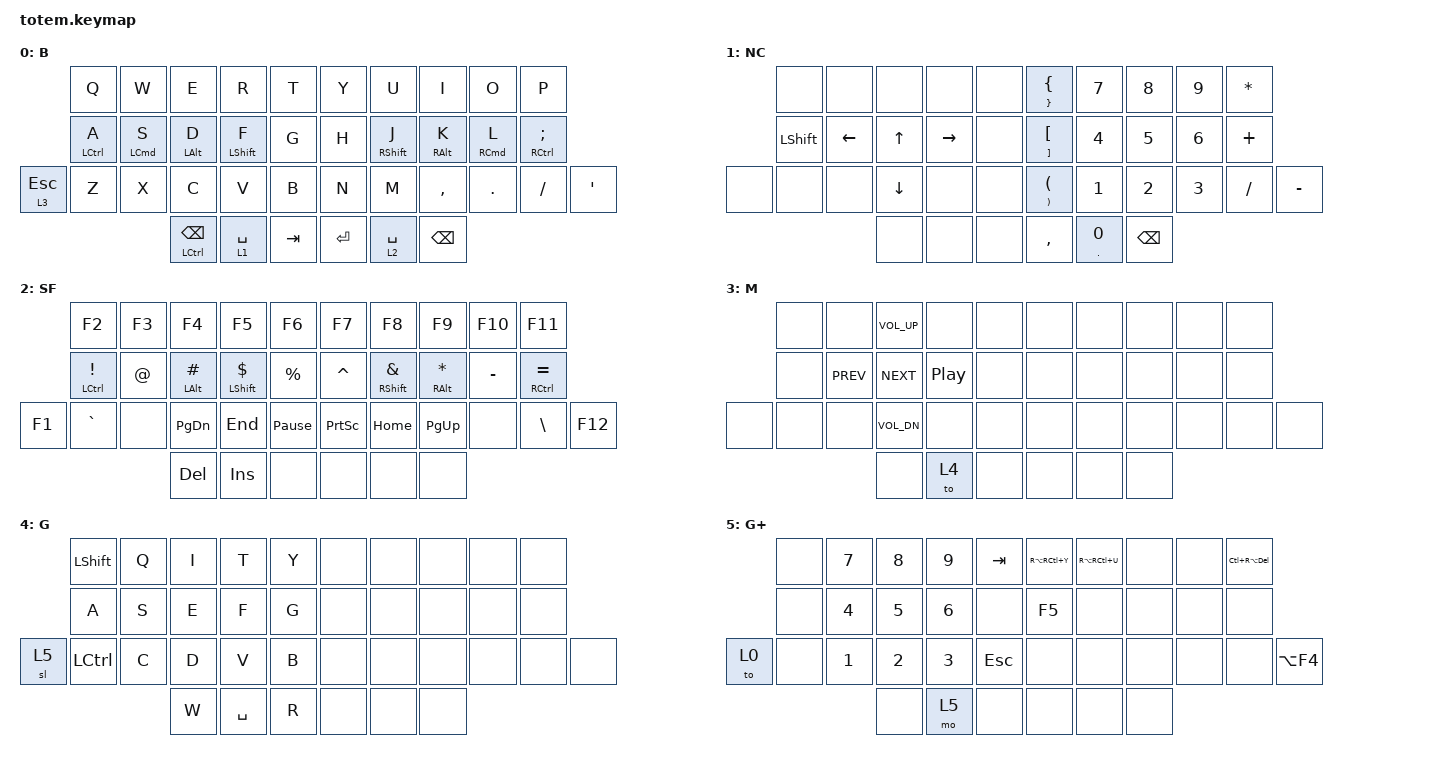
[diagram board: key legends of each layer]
//
//                                                        ▀▀▀▀▀     ▀▀▀▀▀          ▀▀█▀▀
//                                                        ▄▀▀▀▄  ▄  ▄▀▀▀▄  ▄  ▄▀▀▀▄  █  ▄▀▀▀▄
//                                                        █   █  █  █   █  █  █   █  █  █   █
//                                                         ▀▀▀   █   ▀▀▀   █   ▀▀▀   ▀   ▀▀▀
//                                                               █      ▄▄▄█▄▄▄    █   █  
//                                                               ▀      █  █  █     █▄█
//                                                             ▀▀▀▀▀    █  █  █      ▀
//                                                                      ▀  ▀  ▀
//
// ▄▄▄▄▄▄▄▄▄▄▄▄▄▄▄▄▄▄▄▄▄▄▄▄▄▄▄▄▄▄▄▄▄▄▄▄▄▄▄▄▄▄▄▄▄▄▄▄▄▄▄▄▄▄▄▄▄▄▄▄▄▄▄▄▄▄▄▄▄▄▄▄▄▄▄▄▄▄▄▄▄▄▄▄▄▄▄▄▄▄▄▄▄▄▄▄▄▄▄▄▄▄▄▄▄▄▄▄▄▄▄▄▄▄▄▄▄▄▄▄▄▄▄▄▄▄▄▄▄▄▄▄▄▄▄▄▄▄▄▄▄▄▄▄▄▄▄▄▄

#include <behaviors.dtsi>
#include <dt-bindings/zmk/keys.h>

#define Base        0
#define Nav         1
#define Sym         2
#define Fun         3
#define Game        4
#define Gameplus    5

&mt {
    quick-tap-ms = <100>;
    global-quick-tap;
    flavor = "tap-preferred";
    tapping-term-ms = <170>;
};

&lt {
    tapping-term-ms = <240>;
    flavor = "balanced";
    quick-tap-ms = <150>;
};

/ {
    behaviors {
        hm: homerow_mods {
            compatible = "zmk,behavior-hold-tap";
            label = "HOMEROW_MODS";
            #binding-cells = <2>;
            flavor = "tap-preferred";
            tapping-term-ms = <200>;
            quick-tap-ms = <125>;
            global-quick-tap;
            bindings = <&kp>, <&kp>;
        };
    };

    combos { compatible = "zmk,combos"; };

    keymap {
        compatible = "zmk,keymap";

        Base {
            display-name = "B";
            bindings = <
              &kp Q        &kp W       &kp E                &kp R         &kp T      &kp Y    &kp U        &kp I          &kp O       &kp P
              &hm LCTRL A  &hm LCMD S  &hm LALT D           &hm LSHIFT F  &kp G      &kp H    &hm RSHFT J  &hm RALT K     &hm RCMD L  &hm RCTRL SEMICOLON
&lt 3 ESCAPE  &kp Z        &kp X       &kp C                &kp V         &kp B      &kp N    &kp M        &kp COMMA      &kp DOT     &kp SLASH            &kp APOSTROPHE
                                       &mt LCTRL BACKSPACE  &lt 1 SPACE   &kp TAB    &kp RET  &lt 2 SPACE  &kp BACKSPACE
            >;
        };

        Navigation+Numpad {
            display-name = "NC";
            bindings = <
       &none           &none     &none     &none      &none    &mt RIGHT_BRACE LEFT_BRACE              &kp N7      &kp N8         &kp N9  &kp ASTRK
       &kp LEFT_SHIFT  &kp LEFT  &kp UP    &kp RIGHT  &none    &mt RBKT LEFT_BRACKET                   &kp N4      &kp N5         &kp N6  &kp PLUS
&none  &none           &none     &kp DOWN  &none      &none    &mt RIGHT_PARENTHESIS LEFT_PARENTHESIS  &kp N1      &kp N2         &kp N3  &kp SLASH  &kp MINUS
                                 &none     &none      &none    &kp COMMA                               &mt DOT N0  &kp BACKSPACE
            >;
        };

        Symbols+Functions {
            display-name = "SF";
            bindings = <
        &kp F2          &kp F3  &kp F4         &kp F5             &kp F6             &kp F7           &kp F8                &kp F9             &kp F10    &kp F11
        &hm LCTRL EXCL  &kp AT  &hm LALT HASH  &hm LSHIFT DOLLAR  &kp PERCENT        &kp CARET        &hm RSHIFT AMPERSAND  &hm RALT ASTERISK  &kp MINUS  &hm RCTRL EQUAL
&kp F1  &kp GRAVE       &none   &kp PAGE_DOWN  &kp END            &kp PAUSE_BREAK    &kp PRINTSCREEN  &kp HOME              &kp PAGE_UP        &none      &kp BACKSLASH    &kp F12
                                &kp DEL        &kp INSERT         &none              &none            &none                 &none
            >;
        };

        Media {
            display-name = "M";
            bindings = <
       &none  &none       &kp C_VOL_UP  &none             &none    &none  &none  &none  &none  &none
       &none  &kp C_PREV  &kp C_NEXT    &kp C_PLAY_PAUSE  &none    &none  &none  &none  &none  &none
&none  &none  &none       &kp C_VOL_DN  &none             &none    &none  &none  &none  &none  &none  &none
                          &none         &to 4             &none    &none  &none  &none
            >;
        };

        Gaming {
            display-name = "G";
            bindings = <
       &kp LSHIFT  &kp Q  &kp I  &kp T      &kp Y    &none  &none  &none  &none  &none
       &kp A       &kp S  &kp E  &kp F      &kp G    &none  &none  &none  &none  &none
&sl 5  &kp LCTRL   &kp C  &kp D  &kp V      &kp B    &none  &none  &none  &none  &none  &none
                          &kp W  &kp SPACE  &kp R    &none  &none  &none
            >;
        };

        Gaming+ {
            display-name = "G+";
            bindings = <
       &none  &kp N7  &kp N8  &kp N9  &kp TAB    &kp RA(RC(Y))  &kp RA(RC(U))  &none  &none  &kp LC(RA(DEL))
       &none  &kp N4  &kp N5  &kp N6  &none      &kp F5         &none          &none  &none  &none
&to 0  &none  &kp N1  &kp N2  &kp N3  &kp ESC    &none          &none          &none  &none  &none            &kp LA(F4)
                      &none   &mo 5   &none      &none          &none          &none
            >;
        };
    };
};
